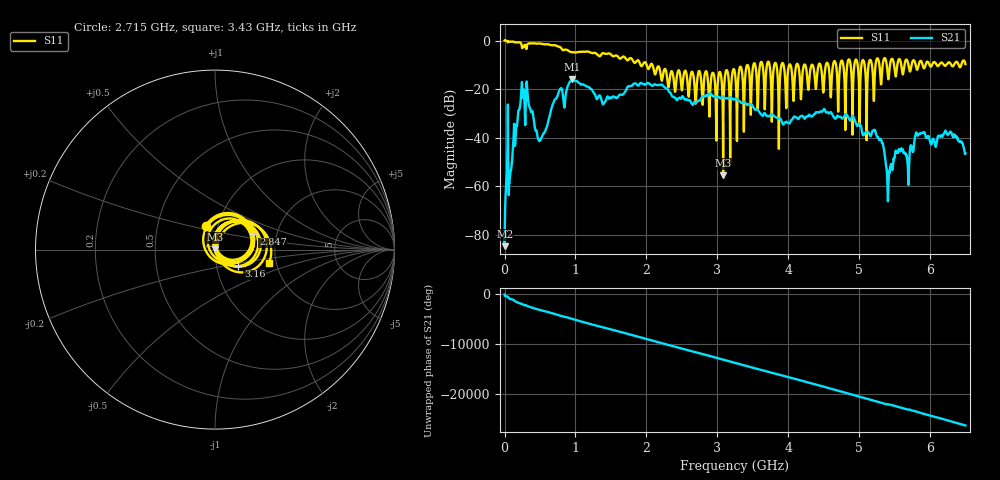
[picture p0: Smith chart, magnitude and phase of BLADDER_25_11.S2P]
!Keysight Technologies,E5063A,MY54503115,A.05.08
!Date: Sun Feb 04 18:33:23 2024
!Data & Calibration Information:
!Freq	S11:NONE(--)	S21:NONE(--)	S12:NONE(--)	S22:NONE(--)
# Hz S dB R 50
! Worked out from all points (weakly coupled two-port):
!   10001 points, 100 kHz to 6.5 GHz, reference 50 ohm
!   highest |S21| = -15.93 dB at 953 MHz (marker M1); lowest = -84.7 dB at 1.4 MHz (marker M2)
!   lowest |S11| = -55.5 dB at 3.082 GHz (marker M3), VSWR 1.00, Z = 49.9 + j0.103 ohm
!   |S11| at or under -10 dB: 2.085 GHz to 3.51 GHz (1.425 GHz wide, 50.9 % of centre); 4.24 GHz to 4.333 GHz (93.37 MHz wide, 2.18 % of centre); 4.343 GHz to 4.43 GHz (87.69 MHz wide, 2 % of centre) (the widest 3 of 32)
!   S12 and S22 are empty: the file has one direction only
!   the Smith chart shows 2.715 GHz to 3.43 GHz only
!   S11 on the Smith chart (normalised r, x): 2.715 GHz: 0.87, +0.24; 2.847 GHz: 1.52, +0.28; 3.16 GHz: 1.27, -0.24; 3.43 GHz: 1.84, -0.29
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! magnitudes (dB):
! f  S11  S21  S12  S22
! 100 kHz  0.0  -80.6  -  -
! 1.4 MHz  0.0  -84.7  -  -
! 39.1 MHz  -0.2  -46.1  -  -
! 245.8 MHz  -3.1  -17.3  -  -
! 498.6 MHz  -1.2  -40.9  -  -
! 953 MHz  -4.8  -15.9  -  -
! 1.084 GHz  -4.7  -18.2  -  -
! 1.4 GHz  -5.2  -25.8  -  -
! 2.167 GHz  -10.6  -18.3  -  -
! 2.715 GHz  -16.9  -25.3  -  -
! 2.847 GHz  -12.7  -22.5  -  -
! 3.082 GHz  -55.5  -23.1  -  -
! 3.131 GHz  -12.2  -23.9  -  -
! 3.16 GHz  -16.0  -23.8  -  -
! 3.25 GHz  -13.6  -24.0  -  -
! 3.43 GHz  -10.1  -26.3  -  -
! 3.869 GHz  -40.7  -32.2  -  -
! 4.334 GHz  -10.0  -31.3  -  -
! 5.216 GHz  -18.7  -36.8  -  -
! 5.417 GHz  -15.6  -56.8  -  -
! 5.827 GHz  -11.6  -39.1  -  -
! 6.5 GHz  -9.7  -46.5  -  -
